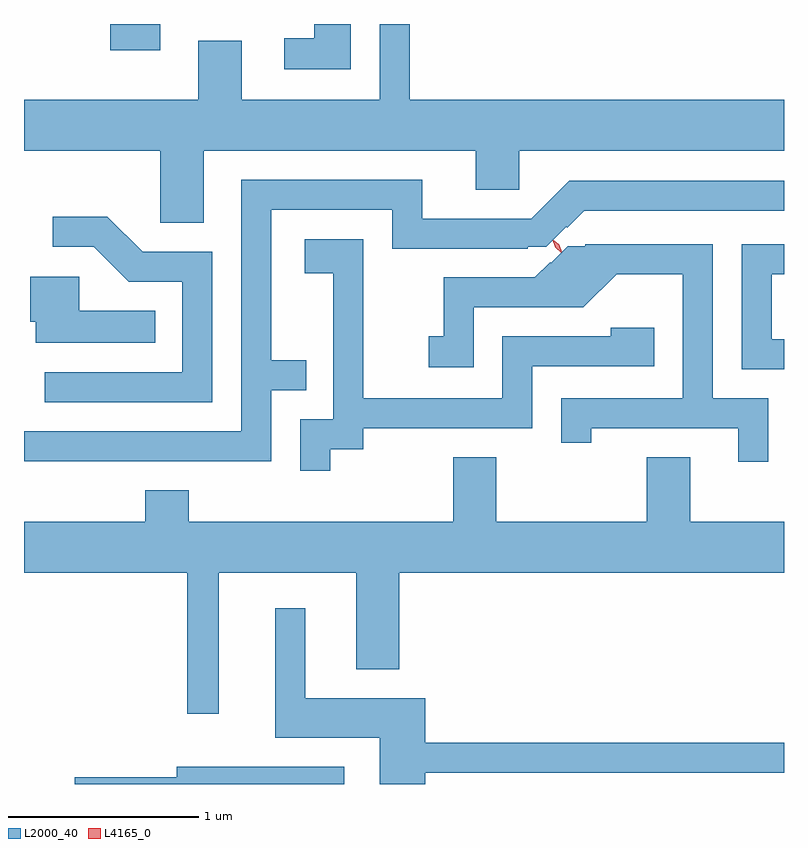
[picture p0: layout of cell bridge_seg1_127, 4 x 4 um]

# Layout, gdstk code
import gdstk
lib = gdstk.Library(unit=1e-6, precision=1e-09)
def R(c, l, rs):  # rectangles x0, y0, x1, y1
    for r in rs: c.add(gdstk.rectangle(r[:2], r[2:], *l))
def P(c, l, *ps):  # polygons
    for p in ps: c.add(gdstk.Polygon(p, *l))
L2000_40 = (2000, 40)
L4165_0 = (4165, 0)

bridge_seg1_127 = lib.new_cell('bridge_seg1_127')
R(bridge_seg1_127, L2000_40, [(1466.286,855.706,1466.549,855.843)])
P(bridge_seg1_127, L2000_40, [(1467.554,855.843),(1467.361,855.843),(1467.361,855.769),(1467.203,855.769),(1467.203,855.606),(1467.554,855.606)],
  [(1466.779,855.176),(1468.211,855.176),(1468.211,854.971),(1468.439,854.971),(1468.439,855.176),(1469.833,855.176),(1469.833,855.444),(1467.864,855.444),(1467.864,855.843),(1467.706,855.843),(1467.706,855.444),(1466.979,855.444),(1466.979,855.754),(1466.751,855.754),(1466.751,855.444),(1465.833,855.444),(1465.833,855.176),(1466.551,855.176),(1466.551,854.796),(1466.779,854.796)],
  [(1467.134,853.916),(1467.318,853.916),(1467.318,854.074),(1467.134,854.074),(1467.134,854.866),(1467.771,854.866),(1467.771,854.661),(1468.485,854.661),(1468.485,854.671),(1468.581,854.671),(1468.686,854.776),(1468.691,854.771),(1468.782,854.861),(1469.833,854.861),(1469.833,855.019),(1468.704,855.019),(1468.504,854.819),(1467.929,854.819),(1467.929,855.024),(1466.976,855.024),(1466.976,853.699),(1465.833,853.699),(1465.833,853.541),(1467.134,853.541)],
  [(1466.824,854.644),(1466.457,854.644),(1466.272,854.829),(1465.983,854.829),(1465.983,854.671),(1466.199,854.671),(1466.384,854.486),(1466.666,854.486),(1466.666,854.009),(1465.943,854.009),(1465.943,853.851),(1466.824,853.851)],
  [(1467.444,853.606),(1467.619,853.606),(1467.619,853.716),(1468.509,853.716),(1468.509,854.041),(1469.149,854.041),(1469.149,854.244),(1468.921,854.244),(1468.921,854.199),(1468.351,854.199),(1468.351,853.874),(1467.619,853.874),(1467.619,854.709),(1467.311,854.709),(1467.311,854.531),(1467.461,854.531),(1467.461,853.764),(1467.286,853.764),(1467.286,853.493),(1467.444,853.493)],
  [(1469.749,853.874),(1469.459,853.874),(1469.459,854.684),(1468.788,854.684),(1468.788,854.673),(1468.695,854.673),(1468.608,854.586),(1468.603,854.59),(1468.522,854.509),(1468.041,854.509),(1468.041,854.199),(1467.963,854.199),(1467.963,854.036),(1468.199,854.036),(1468.199,854.351),(1468.777,854.351),(1468.952,854.526),(1469.301,854.526),(1469.301,853.874),(1468.661,853.874),(1468.661,853.638),(1468.819,853.638),(1468.819,853.716),(1469.591,853.716),(1469.591,853.538),(1469.749,853.538)],
  [(1469.833,854.184),(1469.769,854.184),(1469.769,854.526),(1469.833,854.526),(1469.833,854.684),(1469.611,854.684),(1469.611,854.026),(1469.833,854.026)],
  [(1466.523,854.334),(1466.124,854.334),(1466.124,854.514),(1465.866,854.514),(1465.866,854.276),(1465.896,854.276),(1465.896,854.166),(1466.523,854.166)],
  [(1466.859,852.956),(1467.581,852.956),(1467.581,852.446),(1467.809,852.446),(1467.809,852.956),(1469.833,852.956),(1469.833,853.224),(1469.339,853.224),(1469.339,853.564),(1469.111,853.564),(1469.111,853.224),(1468.319,853.224),(1468.319,853.564),(1468.091,853.564),(1468.091,853.224),(1466.699,853.224),(1466.699,853.389),(1466.471,853.389),(1466.471,853.224),(1465.833,853.224),(1465.833,852.956),(1466.691,852.956),(1466.691,852.213),(1466.859,852.213)],
  [(1467.944,851.901),(1469.833,851.901),(1469.833,852.059),(1467.944,852.059),(1467.944,852.294),(1467.314,852.294),(1467.314,852.768),(1467.156,852.768),(1467.156,852.086),(1467.706,852.086),(1467.706,851.843),(1467.944,851.843)],
  [(1467.518,851.934),(1466.636,851.934),(1466.636,851.879),(1466.101,851.879),(1466.101,851.843),(1467.518,851.843)])
P(bridge_seg1_127, L4165_0, [(1468.66,854.64),(1468.63,854.667),(1468.615,854.705),(1468.616,854.705),(1468.616,854.705),(1468.646,854.678),(1468.661,854.64),(1468.661,854.64)],
  [(1468.663,854.644),(1468.634,854.669),(1468.62,854.705),(1468.62,854.706),(1468.621,854.706),(1468.65,854.681),(1468.664,854.645),(1468.664,854.644)])

lib.write_gds('bridge_seg1_127.gds')
